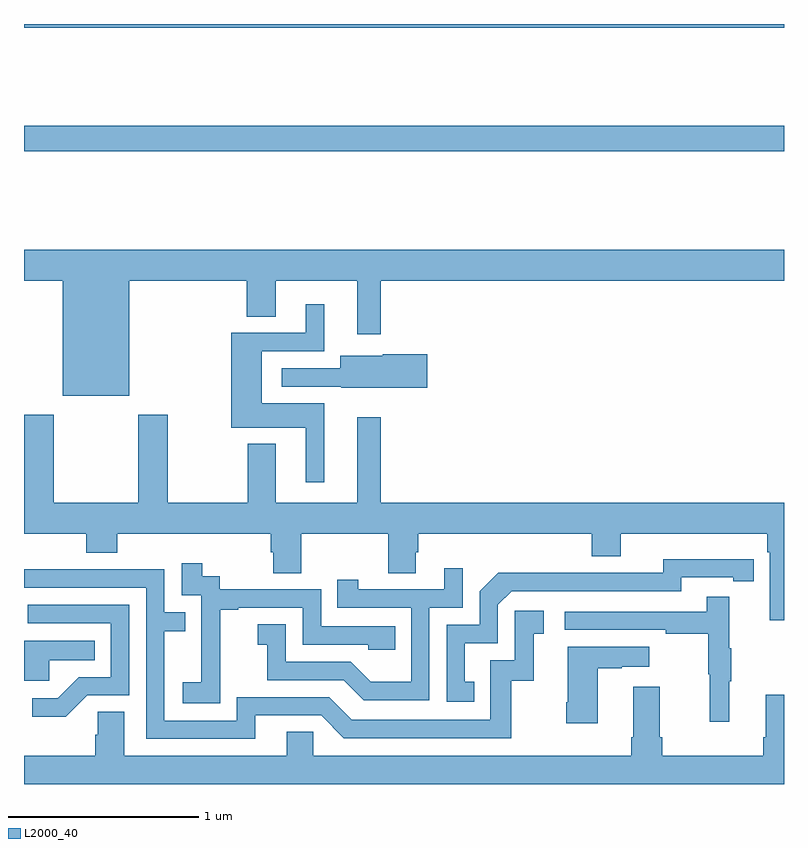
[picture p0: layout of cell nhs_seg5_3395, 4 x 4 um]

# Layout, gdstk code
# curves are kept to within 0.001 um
import gdstk
lib = gdstk.Library(unit=1e-6, precision=1e-09)
def R(c, l, rs):  # rectangles x0, y0, x1, y1
    for r in rs: c.add(gdstk.rectangle(r[:2], r[2:], *l))
def P(c, l, *ps):  # polygons
    for p in ps: c.add(gdstk.Polygon(p, *l))
L2000_40 = (2000, 40)

nhs_seg5_3395 = lib.new_cell('nhs_seg5_3395')
R(nhs_seg5_3395, L2000_40, [(311,836.128,315,836.264), (311,836.78,315,836.799)])
P(nhs_seg5_3395, L2000_40, [(311.554,835.448),(312.173,835.448),(312.173,835.258),(312.325,835.258),(312.325,835.448),(312.755,835.448),(312.755,835.167),(312.877,835.167),(312.877,835.448),(315,835.448),(315,835.612),(311,835.612),(311,835.448),(311.204,835.448),(311.204,834.842),(311.554,834.842)],
  [(312.58,834.802),(312.25,834.802),(312.25,835.077),(312.58,835.077),(312.58,835.324),(312.482,835.324),(312.482,835.173),(312.092,835.173),(312.092,834.674),(312.482,834.674),(312.482,834.387),(312.58,834.387)],
  [(313.123,835.062),(312.888,835.062),(312.888,835.054),(312.665,835.054),(312.665,834.987),(312.357,834.987),(312.357,834.891),(312.669,834.891),(312.669,834.884),(313.123,834.884)],
  [(315,834.28),(312.877,834.28),(312.877,834.73),(312.755,834.73),(312.755,834.28),(312.325,834.28),(312.325,834.589),(312.178,834.589),(312.178,834.28),(311.757,834.28),(311.757,834.742),(311.602,834.742),(311.602,834.28),(311.157,834.28),(311.157,834.742),(311,834.742),(311,834.116),(311.327,834.116),(311.327,834.017),(311.492,834.017),(311.492,834.116),(312.299,834.116),(312.299,834.018),(312.311,834.018),(312.311,833.908),(312.459,833.908),(312.459,834.116),(312.916,834.116),(312.916,833.908),(313.063,833.908),(313.063,834.018),(313.076,834.018),(313.076,834.116),(313.988,834.116),(313.988,833.999),(314.14,833.999),(314.14,834.116),(314.912,834.116),(314.912,834.02),(314.925,834.02),(314.925,833.661),(315,833.661)],
  [(313.37,833.337),(313.321,833.337),(313.321,833.541),(313.494,833.541),(313.494,833.742),(313.566,833.814),(314.46,833.814),(314.46,833.886),(314.732,833.886),(314.732,833.866),(314.84,833.866),(314.84,833.982),(314.364,833.983),(314.364,833.91),(313.904,833.91),(313.904,833.912),(313.496,833.912),(313.398,833.814),(313.398,833.637),(313.224,833.637),(313.224,833.232),(313.37,833.232)],
  [(312.033,833.431),(312.032,833.431),(312.032,833.715),(312.127,833.715),(312.127,833.727),(312.468,833.727),(312.468,833.532),(312.813,833.532),(312.813,833.505),(312.953,833.505),(312.953,833.628),(312.564,833.628),(312.564,833.823),(312.03,833.823),(312.03,833.892),(311.938,833.892),(311.938,833.962),(311.829,833.962),(311.829,833.793),(311.934,833.793),(311.934,833.564),(311.933,833.564),(311.933,833.335),(311.835,833.335),(311.835,833.225),(312.033,833.225)],
  [(313.134,833.727),(313.308,833.727),(313.308,833.935),(313.211,833.935),(313.211,833.823),(312.76,833.823),(312.76,833.875),(312.649,833.875),(312.649,833.727),(313.038,833.727),(313.038,833.338),(312.824,833.338),(312.72,833.442),(312.378,833.442),(312.378,833.641),(312.231,833.641),(312.231,833.531),(312.28,833.531),(312.28,833.346),(312.683,833.346),(312.788,833.241),(313.134,833.241)],
  [(312.217,833.16),(312.564,833.16),(312.684,833.04),(313.564,833.04),(313.564,833.343),(313.682,833.343),(313.682,833.589),(313.735,833.589),(313.735,833.71),(313.584,833.71),(313.584,833.451),(313.455,833.451),(313.455,833.136),(312.726,833.136),(312.606,833.256),(312.12,833.256),(312.12,833.133),(311.739,833.133),(311.739,833.602),(311.849,833.602),(311.849,833.703),(311.739,833.703),(311.739,833.928),(311.243,833.928),(311.243,833.93),(311,833.93),(311,833.832),(311.643,833.832),(311.643,833.037),(312.217,833.037)],
  [(314.711,833.339),(314.722,833.339),(314.722,833.513),(314.711,833.513),(314.711,833.785),(314.593,833.785),(314.593,833.706),(313.845,833.706),(313.845,833.61),(314.377,833.61),(314.377,833.59),(314.601,833.59),(314.601,833.376),(314.608,833.376),(314.608,833.127),(314.711,833.127)],
  [(311.334,833.265),(311.553,833.265),(311.553,833.742),(311.019,833.742),(311.019,833.646),(311.457,833.646),(311.457,833.361),(311.288,833.361),(311.177,833.25),(311.043,833.25),(311.043,833.153),(311.221,833.153)],
  [(311.133,833.45),(311.372,833.45),(311.372,833.554),(311,833.554),(311,833.342),(311.133,833.342)],
  [(314.02,833.407),(314.147,833.407),(314.147,833.417),(314.29,833.417),(314.29,833.521),(313.862,833.521),(313.862,833.23),(313.855,833.23),(313.855,833.118),(314.02,833.118)],
  [(315,833.269),(314.903,833.269),(314.903,833.044),(314.891,833.044),(314.891,832.948),(314.36,832.948),(314.36,833.044),(314.347,833.044),(314.347,833.311),(314.207,833.311),(314.207,833.044),(314.195,833.044),(314.195,832.948),(312.522,832.948),(312.522,833.075),(312.383,833.075),(312.383,832.948),(311.527,832.948),(311.527,833.18),(311.388,833.18),(311.388,833.057),(311.375,833.057),(311.375,832.948),(311,832.948),(311,832.799),(315,832.799)])

lib.write_gds('nhs_seg5_3395.gds')
